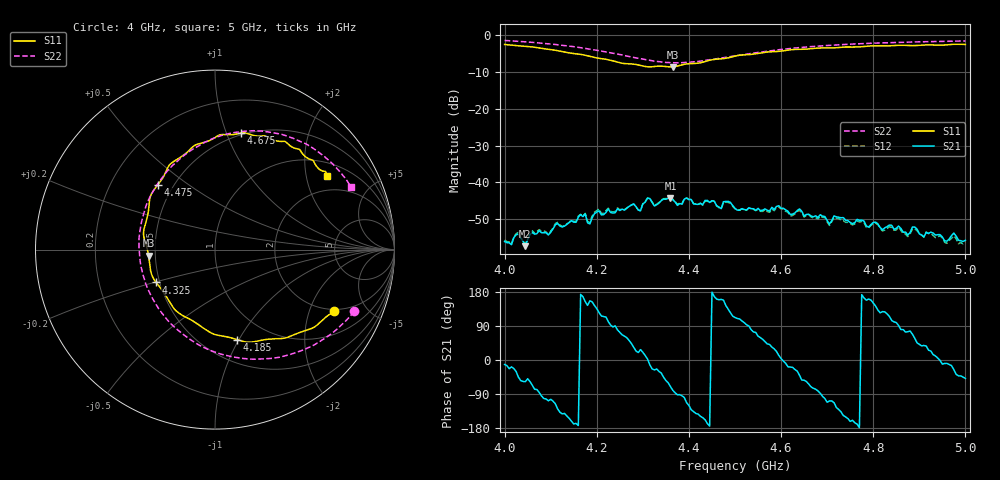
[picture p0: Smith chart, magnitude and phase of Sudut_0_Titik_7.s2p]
# Hz S RI R 50
! CMT, C1220, 16058040, 17.2.0/1
! Date: 15/08/2018 11:59:33
! Data: Format (Calibration Info)
! Freq  S11: Re/Im (F2)  S21: Re/Im (F2)  S12: Re/Im (F2)  S22: Re/Im (F2)
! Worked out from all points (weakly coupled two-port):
!   201 points, 4 GHz to 5 GHz, reference 50 ohm
!   highest |S21| = -44.25 dB at 4.36 GHz (marker M1); lowest = -57.4 dB at 4.045 GHz (marker M2)
!   lowest |S11| = -8.6 dB at 4.365 GHz (marker M3), VSWR 2.18, Z = 23 - j1.77 ohm
!   |S11| at or under -10 dB: nowhere
!   |S22| runs from -7.5 to -1.4 dB; largest |S21 - S12| = 0.0003
!   S11 on the Smith chart (normalised r, x): 4 GHz: 1.92, -2.98; 4.185 GHz: 0.72, -0.98; 4.325 GHz: 0.48, -0.20; 4.475 GHz: 0.41, +0.38; 4.675 GHz: 0.48, +1.12; 5 GHz: 1.41, +2.66
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4e9  0.6647 -0.3427  0.00153 -0.000324  0.00161 -0.000335  0.7756 -0.3439
4.03e9  0.6041 -0.3883  0.00139 -0.00141  0.00152 -0.00142  0.7171 -0.408
4.045e9  0.5701 -0.4194  0.000735 -0.00114  0.00082 -0.00119  0.6837 -0.4395
4.06e9  0.5351 -0.4404  0.000836 -0.00191  0.000942 -0.00199  0.648 -0.4691
4.095e9  0.4301 -0.4788  -0.000582 -0.00184  -0.00053 -0.00187  0.5519 -0.5313
4.11e9  0.3823 -0.4942  -0.00114 -0.00239  -0.00118 -0.00247  0.5023 -0.5544
4.17e9  0.1706 -0.5147  -0.00333 0.000761  -0.00341 0.000655  0.2794 -0.6082
4.185e9  0.1224 -0.5017  -0.00249 0.0011  -0.00269 0.000995  0.2164 -0.6109
4.205e9  0.0464 -0.4827  -0.00234 0.00336  -0.00252 0.00354  0.1291 -0.6025
4.295e9  -0.2496 -0.2968  0.00364 0.0019  0.00366 0.00185  -0.2507 -0.4088
4.31e9  -0.2863 -0.2382  0.00605 0.000311  0.00611 0.000312  -0.2985 -0.3501
4.325e9  -0.3282 -0.1831  0.00428 -0.00211  0.00438 -0.00215  -0.3404 -0.2854
4.335e9  -0.3483 -0.1502  0.00451 -0.00262  0.00457 -0.00269  -0.3647 -0.2393
4.36e9  -0.367 -0.0575  0.00206 -0.00578  0.00205 -0.00587  -0.4073 -0.1157
4.365e9  -0.3699 -0.0332  0.00101 -0.0057  0.000921 -0.00584  -0.4128 -0.0921
4.475e9  -0.3193 0.3592  -0.00505 0.00204  -0.00494 0.00209  -0.3007 0.3918
4.5e9  -0.2685 0.4444  -0.00167 0.00409  -0.00169 0.00404  -0.2375 0.4678
4.595e9  -0.0474 0.6011  0.00469 0.00102  0.00451 0.000934  0.0318 0.6346
4.67e9  0.1334 0.6467  0.000902 -0.00329  0.000825 -0.00319  0.2397 0.6614
4.675e9  0.1434 0.6491  0.000788 -0.00341  0.000746 -0.00323  0.2527 0.6606
4.835e9  0.4388 0.567  -0.00111 0.00238  -0.0011 0.00223  0.5756 0.5439
5e9  0.6253 0.4124  0.00108 -0.00122  0.00108 -0.00107  0.7598 0.3475
